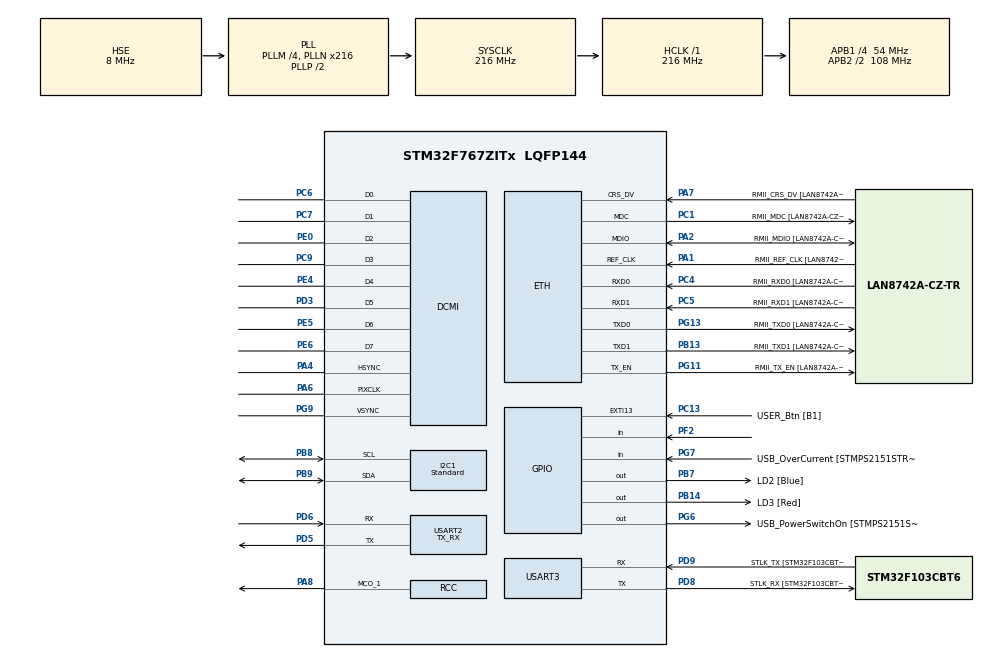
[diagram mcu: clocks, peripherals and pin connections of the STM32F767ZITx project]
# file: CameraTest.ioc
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CORTEX_M7.CPU_DCache=Enabled
CORTEX_M7.CPU_ICache=Enabled
DCMI.HSPolarity=DCMI_HSPOLARITY_HIGH
DCMI.PCKPolarity=DCMI_PCKPOLARITY_FALLING
DCMI.VSPolarity=DCMI_VSPOLARITY_HIGH
Dma.DCMI.0.Direction=DMA_PERIPH_TO_MEMORY
Dma.DCMI.0.FIFOMode=DMA_FIFOMODE_ENABLE
Dma.DCMI.0.FIFOThreshold=DMA_FIFO_THRESHOLD_FULL
Dma.DCMI.0.Instance=DMA2_Stream1
Dma.DCMI.0.MemBurst=DMA_MBURST_SINGLE
Dma.DCMI.0.MemDataAlignment=DMA_MDATAALIGN_HALFWORD
Dma.DCMI.0.MemInc=DMA_MINC_ENABLE
Dma.DCMI.0.Mode=DMA_NORMAL
Dma.DCMI.0.PeriphBurst=DMA_PBURST_SINGLE
Dma.DCMI.0.PeriphDataAlignment=DMA_PDATAALIGN_WORD
Dma.DCMI.0.PeriphInc=DMA_PINC_DISABLE
Dma.DCMI.0.Priority=DMA_PRIORITY_HIGH
Dma.Request0=DCMI
ETH.MediaInterface=ETH_MEDIA_INTERFACE_RMII
ETH.PHY_Name=LAN8742A_PHY_ADDRESS
ETH.PHY_Value=0
ETH.PhyAddress=0
I2C1.I2C_Speed_Mode=I2C_Standard
I2C1.Timing=0x20404768
Mcu.Family=STM32F7
Mcu.Name=STM32F767ZITx
Mcu.Package=LQFP144
NVIC.DCMI_IRQn=true\:0\:0\:false\:false\:true\:true\:true
NVIC.DMA2_Stream1_IRQn=true\:0\:0\:false\:false\:true\:false\:true
NVIC.PriorityGroup=NVIC_PRIORITYGROUP_4
PA1.GPIO_Label=RMII_REF_CLK [LAN8742A-CZ-TR_REFCLK0]
PA1.Mode=RMII
PA1.Signal=ETH_REF_CLK
PA10.GPIO_Label=USB_ID
PA10.Signal=USB_OTG_FS_ID
PA11.GPIO_Label=USB_DM
PA11.Signal=USB_OTG_FS_DM
PA12.GPIO_Label=USB_DP
PA12.Signal=USB_OTG_FS_DP
PA13.GPIO_Label=TMS
PA13.Mode=Serial_Wire
PA13.Signal=SYS_JTMS-SWDIO
PA14.GPIO_Label=TCK
PA14.Mode=Serial_Wire
PA14.Signal=SYS_JTCK-SWCLK
PA2.GPIO_Label=RMII_MDIO [LAN8742A-CZ-TR_MDIO]
PA2.Mode=RMII
PA2.Signal=ETH_MDIO
PA4.GPIO_PuPd=GPIO_PULLUP
PA4.GPIO_Speed=GPIO_SPEED_FREQ_HIGH
PA4.Mode=Slave_8_bits_External_Synchro
PA4.Signal=DCMI_HSYNC
PA6.GPIO_PuPd=GPIO_PULLUP
PA6.GPIO_Speed=GPIO_SPEED_FREQ_HIGH
PA6.Mode=Slave_8_bits_External_Synchro
PA6.Signal=DCMI_PIXCLK
PA7.GPIO_Label=RMII_CRS_DV [LAN8742A-CZ-TR_CRS_DV]
PA7.Mode=RMII
PA7.Signal=ETH_CRS_DV
PA8.GPIO_Speed=GPIO_SPEED_FREQ_VERY_HIGH
PA8.Mode=Clock-out-1
PA8.Signal=RCC_MCO_1
PA9.GPIO_Label=USB_VBUS
PA9.Signal=USB_OTG_FS_VBUS
PB13.GPIO_Label=RMII_TXD1 [LAN8742A-CZ-TR_TXD1]
PB13.Mode=RMII
PB13.Signal=ETH_TXD1
PB14.GPIO_Label=LD3 [Red]
PB14.Signal=GPIO_Output
PB3.GPIO_Label=SWO
PB3.Signal=SYS_JTDO-SWO
PB7.GPIO_Label=LD2 [Blue]
PB7.Signal=GPIO_Output
PB8.GPIO_PuPdOD=GPIO_NOPULL
PB8.GPIO_Speed=GPIO_SPEED_FREQ_VERY_HIGH
PB8.Mode=I2C
PB8.Signal=I2C1_SCL
PB9.GPIO_PuPdOD=GPIO_NOPULL
PB9.GPIO_Speed=GPIO_SPEED_FREQ_VERY_HIGH
PB9.Mode=I2C
PB9.Signal=I2C1_SDA
PC1.GPIO_Label=RMII_MDC [LAN8742A-CZ-TR_MDC]
PC1.Mode=RMII
PC1.Signal=ETH_MDC
PC13.GPIO_Label=USER_Btn [B1]
PC13.Signal=GPXTI13
PC14/OSC32_IN.Mode=LSE-External-Oscillator
PC14/OSC32_IN.Signal=RCC_OSC32_IN
PC15/OSC32_OUT.Mode=LSE-External-Oscillator
PC15/OSC32_OUT.Signal=RCC_OSC32_OUT
PC4.GPIO_Label=RMII_RXD0 [LAN8742A-CZ-TR_RXD0]
PC4.Mode=RMII
PC4.Signal=ETH_RXD0
PC5.GPIO_Label=RMII_RXD1 [LAN8742A-CZ-TR_RXD1]
PC5.Mode=RMII
PC5.Signal=ETH_RXD1
PC6.GPIO_PuPd=GPIO_PULLUP
PC6.GPIO_Speed=GPIO_SPEED_FREQ_HIGH
PC6.Mode=Slave_8_bits_External_Synchro
PC6.Signal=DCMI_D0
PC7.GPIO_PuPd=GPIO_PULLUP
PC7.GPIO_Speed=GPIO_SPEED_FREQ_HIGH
PC7.Mode=Slave_8_bits_External_Synchro
PC7.Signal=DCMI_D1
PC9.GPIO_PuPd=GPIO_PULLUP
PC9.GPIO_Speed=GPIO_SPEED_FREQ_HIGH
PC9.Mode=Slave_8_bits_External_Synchro
PC9.Signal=DCMI_D3
PD3.GPIO_PuPd=GPIO_PULLUP
PD3.GPIO_Speed=GPIO_SPEED_FREQ_HIGH
PD3.Mode=Slave_8_bits_External_Synchro
PD3.Signal=DCMI_D5
PD5.Mode=Asynchronous
PD5.Signal=USART2_TX
PD6.Mode=Asynchronous
PD6.Signal=USART2_RX
PD8.GPIO_Label=STLK_RX [STM32F103CBT6_PA3]
PD8.Mode=Asynchronous
PD8.Signal=USART3_TX
PD9.GPIO_Label=STLK_TX [STM32F103CBT6_PA2]
PD9.Mode=Asynchronous
PD9.Signal=USART3_RX
PE0.GPIO_PuPd=GPIO_PULLUP
PE0.GPIO_Speed=GPIO_SPEED_FREQ_HIGH
PE0.Mode=Slave_8_bits_External_Synchro
PE0.Signal=DCMI_D2
PE4.GPIO_PuPd=GPIO_PULLUP
PE4.GPIO_Speed=GPIO_SPEED_FREQ_HIGH
PE4.Mode=Slave_8_bits_External_Synchro
PE4.Signal=DCMI_D4
PE5.GPIO_PuPd=GPIO_PULLUP
PE5.GPIO_Speed=GPIO_SPEED_FREQ_HIGH
PE5.Mode=Slave_8_bits_External_Synchro
PE5.Signal=DCMI_D6
PE6.GPIO_PuPd=GPIO_PULLUP
PE6.GPIO_Speed=GPIO_SPEED_FREQ_HIGH
PE6.Mode=Slave_8_bits_External_Synchro
PE6.Signal=DCMI_D7
PF2.Signal=GPIO_Input
PG11.GPIO_Label=RMII_TX_EN [LAN8742A-CZ-TR_TXEN]
PG11.Mode=RMII
PG11.Signal=ETH_TX_EN
PG13.GPIO_Label=RMII_TXD0 [LAN8742A-CZ-TR_TXD0]
PG13.Mode=RMII
PG13.Signal=ETH_TXD0
PG6.GPIO_Label=USB_PowerSwitchOn [STMPS2151STR_EN]
PG6.Signal=GPIO_Output
PG7.GPIO_Label=USB_OverCurrent [STMPS2151STR_FAULT]
PG7.Signal=GPIO_Input
PG9.GPIO_PuPd=GPIO_PULLUP
PG9.GPIO_Speed=GPIO_SPEED_FREQ_HIGH
PG9.Mode=Slave_8_bits_External_Synchro
PG9.Signal=DCMI_VSYNC
PH0/OSC_IN.GPIO_Label=MCO [STM32F103CBT6_PA8]
PH0/OSC_IN.Mode=HSE-External-Clock-Source
PH0/OSC_IN.Signal=RCC_OSC_IN
PH1/OSC_OUT.Mode=HSE-External-Clock-Source
PH1/OSC_OUT.Signal=RCC_OSC_OUT
ProjectManager.HeapSize=0x200
ProjectManager.StackSize=0x400
ProjectManager.TargetToolchain=SW4STM32
RCC.48MHZClocksFreq_Value=24000000
RCC.AHBFreq_Value=216000000
RCC.APB1CLKDivider=RCC_HCLK_DIV4
RCC.APB1Freq_Value=54000000
RCC.APB1TimFreq_Value=108000000
RCC.APB2CLKDivider=RCC_HCLK_DIV2
RCC.APB2Freq_Value=108000000
RCC.APB2TimFreq_Value=216000000
RCC.CortexFreq_Value=216000000
RCC.HCLKFreq_Value=216000000
RCC.HSE_VALUE=8000000
RCC.HSI_VALUE=16000000
RCC.PLLM=4
RCC.PLLMUL=RCC_PLL_MUL9
RCC.PLLN=216
RCC.PLLQ=9
RCC.PLLSourceVirtual=RCC_PLLSOURCE_HSE
RCC.PRESCALERUSB=RCC_USBCLKSOURCE_PLL_DIV1_5
RCC.SDMMCClockSelection=RCC_SDMMC1CLKSOURCE_CLK48
RCC.SYSCLKFreq_VALUE=216000000
RCC.SYSCLKSource=RCC_SYSCLKSOURCE_PLLCLK
RCC.SYSCLKSourceVirtual=RCC_SYSCLKSOURCE_PLLCLK
RCC.USBFreq_Value=48000000
RCC.VCOOutputFreq_Value=432000000
USART2.Mode=MODE_TX_RX
USART2.VirtualMode-Asynchronous=VM_ASYNC
USART3.VirtualMode-Asynchronous=VM_ASYNC
board=NUCLEO-F767ZI

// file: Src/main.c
/* USER CODE BEGIN Header */
/**
  ******************************************************************************
  * @file           : main.c
  * @brief          : Main program body
  ******************************************************************************
  * @attention
  *
  * <h2><center>&copy; Copyright (c) 2019 STMicroelectronics.
  * All rights reserved.</center></h2>
  *
  * This software component is licensed by ST under BSD 3-Clause license,
  * the "License"; You may not use this file except in compliance with the
  * License. You may obtain a copy of the License at:
  *                        opensource.org/licenses/BSD-3-Clause
  *
  ******************************************************************************
  */
/* USER CODE END Header */

#include "main.h"

/* USER CODE BEGIN PD */
#define CAM_BUF (320*240)
//38400
/* USER CODE END PD */

DCMI_HandleTypeDef hdcmi;
DMA_HandleTypeDef hdma_dcmi;

ETH_HandleTypeDef heth;

I2C_HandleTypeDef hi2c1;

UART_HandleTypeDef huart2;
UART_HandleTypeDef huart3;

void SystemClock_Config(void);
static void MX_GPIO_Init(void);
static void MX_ETH_Init(void);
static void MX_USART3_UART_Init(void);
static void MX_I2C1_Init(void);
static void MX_DMA_Init(void);
static void MX_DCMI_Init(void);
static void MX_USART2_UART_Init(void);
/* USER CODE BEGIN PFP */
static void Camera_Config(void);
/* USER CODE END PFP */

int main(void)
{

  /* Enable I-Cache---------------------------------------------------------*/
  SCB_EnableICache();

  /* Enable D-Cache---------------------------------------------------------*/
  SCB_EnableDCache();

  /* MCU Configuration--------------------------------------------------------*/

  /* Reset of all peripherals, Initializes the Flash interface and the Systick. */
  HAL_Init();

  /* Configure the system clock */
  SystemClock_Config();

  /* Initialize all configured peripherals */
  MX_GPIO_Init();
  MX_ETH_Init();
  MX_USART3_UART_Init();
  MX_I2C1_Init();
  MX_DMA_Init();
  MX_DCMI_Init();
  MX_USART2_UART_Init();
  /* USER CODE BEGIN 2 */
  uint16_t buf[CAM_BUF] = {0};
  uint8_t my_bmp_header[] = {
		  0x42,0x4D,0x36,0x58,0x02,0x00,0x00,0x00,0x00,0x00, // ID=BM, Filsize=(240x320x2+54)
		  0x36,0x00,0x00,0x00,0x28,0x00,0x00,0x00,           // Offset=54d, Headerlen=40d
		  0x40,0x01,0x00,0x00,0xF0,0x00,0x00,0x00,0x01,0x00, // W=320d, H=240d (landscape)
		  0x10,0x00,0x00,0x00,0x00,0x00,0x00,0x58,0x02,0x00, // 16bpp, uncompressed, Data=(240x320x2)
		  0x00,0x00,0x00,0x00,0x00,0x00,0x00,0x00,           // nc
		  0x00,0x00,0x00,0x00,0x00,0x00,0x00,0x00			 // nc
  };

  const uint8_t BMP_HEADER_320x240[]={
    0x42,0x4D,0x36,0x84,0x03,0x00,0x00,0x00,0x00,0x00, // ID=BM, Filsize=(240x320x3+54)
    0x36,0x00,0x00,0x00,0x28,0x00,0x00,0x00,           // Offset=54d, Headerlen=40d
    0x40,0x01,0x00,0x00,0xF0,0x00,0x00,0x00,0x01,0x00, // W=320d, H=240d (landscape)
    0x18,0x00,0x00,0x00,0x00,0x00,0x00,0x84,0x03,0x00, // 24bpp, unkomprimiert, Data=(240x320x3)
    0x00,0x00,0x00,0x00,0x00,0x00,0x00,0x00,           // nc
    0x00,0x00,0x00,0x00,0x00,0x00,0x00,0x00};          // nc
  Camera_Config();
  HAL_Delay(2000);
  HAL_DCMI_Start_DMA(&hdcmi,DCMI_MODE_SNAPSHOT,(uint32_t)&buf,(uint32_t)CAM_BUF);
  HAL_Delay(1000);
  //HAL_DCMI_Stop(&hdcmi);
  while(HAL_DCMI_GetState(&hdcmi) == HAL_DCMI_STATE_BUSY) {
	  HAL_GPIO_WritePin(LD3_GPIO_Port,LD3_Pin,GPIO_PIN_SET);
	  HAL_Delay(500);
	  HAL_GPIO_WritePin(LD3_GPIO_Port,LD3_Pin,GPIO_PIN_RESET);
	  HAL_Delay(500);
  }

  HAL_UART_Transmit(&huart2,BMP_HEADER_320x240,sizeof(BMP_HEADER_320x240),2000);
  for(unsigned int i = 0;i < CAM_BUF;i++) {
	  uint8_t r = ((buf[i]&0xF800)>>8);  // 5bit red
	  uint8_t g = ((buf[i]&0x07E0)>>3);  // 6bit green
	  uint8_t b = ((buf[i]&0x001F)<<3);  // 5bit blue
	  HAL_UART_Transmit(&huart2,&b,1,2000);
	  HAL_UART_Transmit(&huart2,&g,1,2000);
	  HAL_UART_Transmit(&huart2,&r,1,2000);
	  /*uint8_t lsb = buf[i] & 0xFF;
	  uint8_t msb = (buf[i] >> 8) & 0xFF;
	  HAL_UART_Transmit(&huart2,&lsb,1,2000);
	  HAL_UART_Transmit(&huart2,&msb,1,2000);*/
  }
  /* USER CODE END 2 */

  /* Infinite loop */
  /* USER CODE BEGIN WHILE */
  while (1)
  {
	  GPIO_TypeDef* ledport = LD2_GPIO_Port;
	  unsigned short ledpin = LD2_Pin;
	  if(hdcmi.ErrorCode != 0) {
		  ledport = LD3_GPIO_Port;
		  ledpin = LD3_Pin;
	  }
	  HAL_GPIO_WritePin(ledport,ledpin,GPIO_PIN_SET);
	  HAL_DCMI_GetState(&hdcmi);
	  HAL_Delay(100);
	  HAL_GPIO_WritePin(ledport,ledpin,GPIO_PIN_RESET);
	  HAL_Delay(100);
    /* USER CODE END WHILE */

  }
}

void SystemClock_Config(void)
{
  RCC_OscInitTypeDef RCC_OscInitStruct = {0};
  RCC_ClkInitTypeDef RCC_ClkInitStruct = {0};
  RCC_PeriphCLKInitTypeDef PeriphClkInitStruct = {0};

  /** Configure LSE Drive Capability
  */
  HAL_PWR_EnableBkUpAccess();
  /** Configure the main internal regulator output voltage
  */
  __HAL_RCC_PWR_CLK_ENABLE();
  __HAL_PWR_VOLTAGESCALING_CONFIG(PWR_REGULATOR_VOLTAGE_SCALE1);
  /** Initializes the CPU, AHB and APB busses clocks
  */
  RCC_OscInitStruct.OscillatorType = RCC_OSCILLATORTYPE_HSI|RCC_OSCILLATORTYPE_HSE;
  RCC_OscInitStruct.HSEState = RCC_HSE_BYPASS;
  RCC_OscInitStruct.HSIState = RCC_HSI_ON;
  RCC_OscInitStruct.HSICalibrationValue = RCC_HSICALIBRATION_DEFAULT;
  RCC_OscInitStruct.PLL.PLLState = RCC_PLL_ON;
  RCC_OscInitStruct.PLL.PLLSource = RCC_PLLSOURCE_HSE;
  RCC_OscInitStruct.PLL.PLLM = 4;
  RCC_OscInitStruct.PLL.PLLN = 216;
  RCC_OscInitStruct.PLL.PLLP = RCC_PLLP_DIV2;
  RCC_OscInitStruct.PLL.PLLQ = 9;
  if (HAL_RCC_OscConfig(&RCC_OscInitStruct) != HAL_OK)
  {
    Error_Handler();
  }
  /** Activate the Over-Drive mode
  */
  if (HAL_PWREx_EnableOverDrive() != HAL_OK)
  {
    Error_Handler();
  }
  /** Initializes the CPU, AHB and APB busses clocks
  */
  RCC_ClkInitStruct.ClockType = RCC_CLOCKTYPE_HCLK|RCC_CLOCKTYPE_SYSCLK
                              |RCC_CLOCKTYPE_PCLK1|RCC_CLOCKTYPE_PCLK2;
  RCC_ClkInitStruct.SYSCLKSource = RCC_SYSCLKSOURCE_PLLCLK;
  RCC_ClkInitStruct.AHBCLKDivider = RCC_SYSCLK_DIV1;
  RCC_ClkInitStruct.APB1CLKDivider = RCC_HCLK_DIV4;
  RCC_ClkInitStruct.APB2CLKDivider = RCC_HCLK_DIV2;

  if (HAL_RCC_ClockConfig(&RCC_ClkInitStruct, FLASH_LATENCY_7) != HAL_OK)
  {
    Error_Handler();
  }
  PeriphClkInitStruct.PeriphClockSelection = RCC_PERIPHCLK_USART2|RCC_PERIPHCLK_USART3
                              |RCC_PERIPHCLK_I2C1;
  PeriphClkInitStruct.Usart2ClockSelection = RCC_USART2CLKSOURCE_PCLK1;
  PeriphClkInitStruct.Usart3ClockSelection = RCC_USART3CLKSOURCE_PCLK1;
  PeriphClkInitStruct.I2c1ClockSelection = RCC_I2C1CLKSOURCE_PCLK1;
  if (HAL_RCCEx_PeriphCLKConfig(&PeriphClkInitStruct) != HAL_OK)
  {
    Error_Handler();
  }
  HAL_RCC_MCOConfig(RCC_MCO1, RCC_MCO1SOURCE_HSI, RCC_MCODIV_1);
}

static void MX_DCMI_Init(void)
{

  hdcmi.Instance = DCMI;
  hdcmi.Init.SynchroMode = DCMI_SYNCHRO_HARDWARE;
  hdcmi.Init.PCKPolarity = DCMI_PCKPOLARITY_FALLING;
  hdcmi.Init.VSPolarity = DCMI_VSPOLARITY_HIGH;
  hdcmi.Init.HSPolarity = DCMI_HSPOLARITY_HIGH;
  hdcmi.Init.CaptureRate = DCMI_CR_ALL_FRAME;
  hdcmi.Init.ExtendedDataMode = DCMI_EXTEND_DATA_8B;
  hdcmi.Init.JPEGMode = DCMI_JPEG_DISABLE;
  hdcmi.Init.ByteSelectMode = DCMI_BSM_ALL;
  hdcmi.Init.ByteSelectStart = DCMI_OEBS_ODD;
  hdcmi.Init.LineSelectMode = DCMI_LSM_ALL;
  hdcmi.Init.LineSelectStart = DCMI_OELS_ODD;
  if (HAL_DCMI_Init(&hdcmi) != HAL_OK)
  {
    Error_Handler();
  }

}

static void MX_ETH_Init(void)
{

  heth.Instance = ETH;
  heth.Init.AutoNegotiation = ETH_AUTONEGOTIATION_ENABLE;
  heth.Init.PhyAddress = LAN8742A_PHY_ADDRESS;
  heth.Init.MACAddr[0] =   0x00;
  heth.Init.MACAddr[1] =   0x80;
  heth.Init.MACAddr[2] =   0xE1;
  heth.Init.MACAddr[3] =   0x00;
  heth.Init.MACAddr[4] =   0x00;
  heth.Init.MACAddr[5] =   0x00;
  heth.Init.RxMode = ETH_RXPOLLING_MODE;
  heth.Init.ChecksumMode = ETH_CHECKSUM_BY_HARDWARE;
  heth.Init.MediaInterface = ETH_MEDIA_INTERFACE_RMII;

  if (HAL_ETH_Init(&heth) != HAL_OK)
  {
    Error_Handler();
  }

}

static void MX_I2C1_Init(void)
{

  hi2c1.Instance = I2C1;
  hi2c1.Init.Timing = 0x20404768;
  hi2c1.Init.OwnAddress1 = 0;
  hi2c1.Init.AddressingMode = I2C_ADDRESSINGMODE_7BIT;
  hi2c1.Init.DualAddressMode = I2C_DUALADDRESS_DISABLE;
  hi2c1.Init.OwnAddress2 = 0;
  hi2c1.Init.OwnAddress2Masks = I2C_OA2_NOMASK;
  hi2c1.Init.GeneralCallMode = I2C_GENERALCALL_DISABLE;
  hi2c1.Init.NoStretchMode = I2C_NOSTRETCH_DISABLE;
  if (HAL_I2C_Init(&hi2c1) != HAL_OK)
  {
    Error_Handler();
  }
  /** Configure Analogue filter
  */
  if (HAL_I2CEx_ConfigAnalogFilter(&hi2c1, I2C_ANALOGFILTER_ENABLE) != HAL_OK)
  {
    Error_Handler();
  }
  /** Configure Digital filter
  */
  if (HAL_I2CEx_ConfigDigitalFilter(&hi2c1, 0) != HAL_OK)
  {
    Error_Handler();
  }

}

static void MX_USART2_UART_Init(void)
{

  huart2.Instance = USART2;
  huart2.Init.BaudRate = 115200;
  huart2.Init.WordLength = UART_WORDLENGTH_8B;
  huart2.Init.StopBits = UART_STOPBITS_1;
  huart2.Init.Parity = UART_PARITY_NONE;
  huart2.Init.Mode = UART_MODE_TX_RX;
  huart2.Init.HwFlowCtl = UART_HWCONTROL_NONE;
  huart2.Init.OverSampling = UART_OVERSAMPLING_16;
  huart2.Init.OneBitSampling = UART_ONE_BIT_SAMPLE_DISABLE;
  huart2.AdvancedInit.AdvFeatureInit = UART_ADVFEATURE_NO_INIT;
  if (HAL_UART_Init(&huart2) != HAL_OK)
  {
    Error_Handler();
  }

}

static void MX_USART3_UART_Init(void)
{

  huart3.Instance = USART3;
  huart3.Init.BaudRate = 115200;
  huart3.Init.WordLength = UART_WORDLENGTH_8B;
  huart3.Init.StopBits = UART_STOPBITS_1;
  huart3.Init.Parity = UART_PARITY_NONE;
  huart3.Init.Mode = UART_MODE_TX_RX;
  huart3.Init.HwFlowCtl = UART_HWCONTROL_NONE;
  huart3.Init.OverSampling = UART_OVERSAMPLING_16;
  huart3.Init.OneBitSampling = UART_ONE_BIT_SAMPLE_DISABLE;
  huart3.AdvancedInit.AdvFeatureInit = UART_ADVFEATURE_NO_INIT;
  if (HAL_UART_Init(&huart3) != HAL_OK)
  {
    Error_Handler();
  }

}

static void MX_DMA_Init(void)
{

  /* DMA controller clock enable */
  __HAL_RCC_DMA2_CLK_ENABLE();

  /* DMA interrupt init */
  /* DMA2_Stream1_IRQn interrupt configuration */
  HAL_NVIC_SetPriority(DMA2_Stream1_IRQn, 0, 0);
  HAL_NVIC_EnableIRQ(DMA2_Stream1_IRQn);

}

static void MX_GPIO_Init(void)
{
  GPIO_InitTypeDef GPIO_InitStruct = {0};

  /* GPIO Ports Clock Enable */
  __HAL_RCC_GPIOE_CLK_ENABLE();
  __HAL_RCC_GPIOC_CLK_ENABLE();
  __HAL_RCC_GPIOF_CLK_ENABLE();
  __HAL_RCC_GPIOH_CLK_ENABLE();
  __HAL_RCC_GPIOA_CLK_ENABLE();
  __HAL_RCC_GPIOB_CLK_ENABLE();
  __HAL_RCC_GPIOD_CLK_ENABLE();
  __HAL_RCC_GPIOG_CLK_ENABLE();

  /*Configure GPIO pin Output Level */
  HAL_GPIO_WritePin(GPIOB, LD3_Pin|LD2_Pin, GPIO_PIN_RESET);

  /*Configure GPIO pin Output Level */
  HAL_GPIO_WritePin(USB_PowerSwitchOn_GPIO_Port, USB_PowerSwitchOn_Pin, GPIO_PIN_RESET);

  /*Configure GPIO pin : USER_Btn_Pin */
  GPIO_InitStruct.Pin = USER_Btn_Pin;
  GPIO_InitStruct.Mode = GPIO_MODE_IT_RISING;
  GPIO_InitStruct.Pull = GPIO_NOPULL;
  HAL_GPIO_Init(USER_Btn_GPIO_Port, &GPIO_InitStruct);

  /*Configure GPIO pin : PF2 */
  GPIO_InitStruct.Pin = GPIO_PIN_2;
  GPIO_InitStruct.Mode = GPIO_MODE_INPUT;
  GPIO_InitStruct.Pull = GPIO_NOPULL;
  HAL_GPIO_Init(GPIOF, &GPIO_InitStruct);

  /*Configure GPIO pins : LD3_Pin LD2_Pin */
  GPIO_InitStruct.Pin = LD3_Pin|LD2_Pin;
  GPIO_InitStruct.Mode = GPIO_MODE_OUTPUT_PP;
  GPIO_InitStruct.Pull = GPIO_NOPULL;
  GPIO_InitStruct.Speed = GPIO_SPEED_FREQ_LOW;
  HAL_GPIO_Init(GPIOB, &GPIO_InitStruct);

  /*Configure GPIO pin : USB_PowerSwitchOn_Pin */
  GPIO_InitStruct.Pin = USB_PowerSwitchOn_Pin;
  GPIO_InitStruct.Mode = GPIO_MODE_OUTPUT_PP;
  GPIO_InitStruct.Pull = GPIO_NOPULL;
  GPIO_InitStruct.Speed = GPIO_SPEED_FREQ_LOW;
  HAL_GPIO_Init(USB_PowerSwitchOn_GPIO_Port, &GPIO_InitStruct);

  /*Configure GPIO pin : USB_OverCurrent_Pin */
  GPIO_InitStruct.Pin = USB_OverCurrent_Pin;
  GPIO_InitStruct.Mode = GPIO_MODE_INPUT;
  GPIO_InitStruct.Pull = GPIO_NOPULL;
  HAL_GPIO_Init(USB_OverCurrent_GPIO_Port, &GPIO_InitStruct);

  /*Configure GPIO pin : PA8 */
  GPIO_InitStruct.Pin = GPIO_PIN_8;
  GPIO_InitStruct.Mode = GPIO_MODE_AF_PP;
  GPIO_InitStruct.Pull = GPIO_NOPULL;
  GPIO_InitStruct.Speed = GPIO_SPEED_FREQ_VERY_HIGH;
  GPIO_InitStruct.Alternate = GPIO_AF0_MCO;
  HAL_GPIO_Init(GPIOA, &GPIO_InitStruct);

  /*Configure GPIO pin : USB_VBUS_Pin */
  GPIO_InitStruct.Pin = USB_VBUS_Pin;
  GPIO_InitStruct.Mode = GPIO_MODE_INPUT;
  GPIO_InitStruct.Pull = GPIO_NOPULL;
  HAL_GPIO_Init(USB_VBUS_GPIO_Port, &GPIO_InitStruct);

  /*Configure GPIO pins : USB_ID_Pin USB_DM_Pin USB_DP_Pin */
  GPIO_InitStruct.Pin = USB_ID_Pin|USB_DM_Pin|USB_DP_Pin;
  GPIO_InitStruct.Mode = GPIO_MODE_AF_PP;
  GPIO_InitStruct.Pull = GPIO_NOPULL;
  GPIO_InitStruct.Speed = GPIO_SPEED_FREQ_VERY_HIGH;
  GPIO_InitStruct.Alternate = GPIO_AF10_OTG_FS;
  HAL_GPIO_Init(GPIOA, &GPIO_InitStruct);

}

/* USER CODE BEGIN 4 */
static void Camera_Config(void) {
	uint8_t reset = 0x80;
	HAL_I2C_Mem_Write(&hi2c1,0x60,0x12,I2C_MEMADD_SIZE_8BIT,&reset,1,2000);
	HAL_Delay(200);

	static uint8_t OV9655_QVGA_TAB[][2]=
	{
	  {0x00,0x00},{0x01,0x80},{0x02,0x80},{0x03,0x02},{0x04,0x03},{0x09,0x01},
	  {0x0b,0x57},{0x0e,0x61},{0x0f,0x40},{0x11,0x01},{0x12,0x62},{0x13,0xc7},
	  {0x14,0x3a},{0x16,0x24},{0x17,0x18},{0x18,0x04},{0x19,0x01},{0x1a,0x81},
	  {0x1e,0x00},{0x24,0x3c},{0x25,0x36},{0x26,0x72},{0x27,0x08},{0x28,0x08},
	  {0x29,0x15},{0x2a,0x00},{0x2b,0x00},{0x2c,0x08},{0x32,0x12},{0x33,0x00},
	  {0x34,0x3f},{0x35,0x00},{0x36,0x3a},{0x38,0x72},{0x39,0x57},{0x3a,0xcc},
	  {0x3b,0x04},{0x3d,0x99},{0x3e,0x02},{0x3f,0xc1},{0x40,0xc0},{0x41,0x41},
	  {0x42,0xc0},{0x43,0x0a},{0x44,0xf0},{0x45,0x46},{0x46,0x62},{0x47,0x2a},
	  {0x48,0x3c},{0x4a,0xfc},{0x4b,0xfc},{0x4c,0x7f},{0x4d,0x7f},{0x4e,0x7f},
	  {0x4f,0x98},{0x50,0x98},{0x51,0x00},{0x52,0x28},{0x53,0x70},{0x54,0x98},
	  {0x58,0x1a},{0x59,0x85},{0x5a,0xa9},{0x5b,0x64},{0x5c,0x84},{0x5d,0x53},
	  {0x5e,0x0e},{0x5f,0xf0},{0x60,0xf0},{0x61,0xf0},{0x62,0x00},{0x63,0x00},
	  {0x64,0x02},{0x65,0x20},{0x66,0x00},{0x69,0x0a},{0x6b,0x5a},{0x6c,0x04},
	  {0x6d,0x55},{0x6e,0x00},{0x6f,0x9d},{0x70,0x21},{0x71,0x78},{0x72,0x11},
	  {0x73,0x01},{0x74,0x10},{0x75,0x10},{0x76,0x01},{0x77,0x02},{0x7A,0x12},
	  {0x7B,0x08},{0x7C,0x16},{0x7D,0x30},{0x7E,0x5e},{0x7F,0x72},{0x80,0x82},
	  {0x81,0x8e},{0x82,0x9a},{0x83,0xa4},{0x84,0xac},{0x85,0xb8},{0x86,0xc3},
	  {0x87,0xd6},{0x88,0xe6},{0x89,0xf2},{0x8a,0x24},{0x8c,0x80},{0x90,0x7d},
	  {0x91,0x7b},{0x9d,0x02},{0x9e,0x02},{0x9f,0x7a},{0xa0,0x79},{0xa1,0x40},
	  {0xa4,0x50},{0xa5,0x68},{0xa6,0x4a},{0xa8,0xc1},{0xa9,0xef},{0xaa,0x92},
	  {0xab,0x04},{0xac,0x80},{0xad,0x80},{0xae,0x80},{0xaf,0x80},{0xb2,0xf2},
	  {0xb3,0x20},{0xb4,0x20},{0xb5,0x00},{0xb6,0xaf},{0xb6,0xaf},{0xbb,0xae},
	  {0xbc,0x7f},{0xbd,0x7f},{0xbe,0x7f},{0xbf,0x7f},{0xbf,0x7f},{0xc0,0xaa},
	  {0xc1,0xc0},{0xc2,0x01},{0xc3,0x4e},{0xc6,0x05},{0xc7,0x81},{0xc9,0xe0},
	  {0xca,0xe8},{0xcb,0xf0},{0xcc,0xd8},{0xcd,0x93},{0x12,0x63},{0x40,0x10},
	  {0x15,0x08}
	};
	for(int i = 0;i < sizeof(OV9655_QVGA_TAB)/2;i++) {
		HAL_I2C_Mem_Write(&hi2c1,0x60,OV9655_QVGA_TAB[i][0],I2C_MEMADD_SIZE_8BIT,&(OV9655_QVGA_TAB[i][1]),1,2000);
		HAL_Delay(2);
	}
}
/* USER CODE END 4 */

void Error_Handler(void)
{
}

/************************ (C) COPYRIGHT STMicroelectronics *****END OF FILE****/
